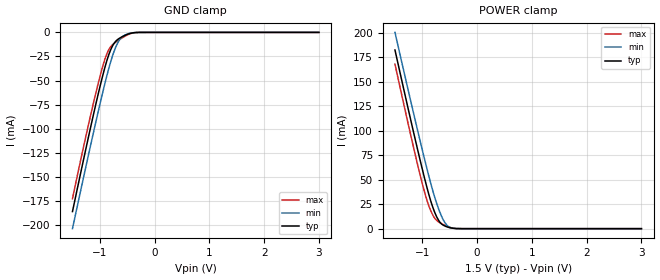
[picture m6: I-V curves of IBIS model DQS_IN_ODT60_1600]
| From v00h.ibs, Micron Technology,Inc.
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| MODEL DQS_IN_ODT60_1600 (Data Strobe Input with 60ohm ODT, 1333/1600/1866Mbps)
[Model]   DQS_IN_ODT60_1600
Model_type   Input
Vinl = 600.000mV
Vinh = 900.000mV
|   typ   min   max
|C_comp   1.053pF   0.965pF   1.152pF
C_comp_power_clamp   0.5265pF   0.4825pF   0.5760pF
C_comp_gnd_clamp   0.5265pF   0.4825pF   0.5760pF
| Note: C_comp changes when the ODT circuit is enabled.
[Model Spec]
| Input threshold voltage corners
Vinl   0.6000V   0.5625V   0.6375V
Vinh   0.9000V   0.8625V   0.9375V
| Dynamic Overshoot Parameters from DDR3 Specification
|D_overshoot_ampl_h   0.40   NA   NA
|D_overshoot_ampl_l   0.40   NA   NA
|D_overshoot_area_h   0.13n   NA   NA
|D_overshoot_area_l   0.13n   NA   NA
[Receiver Thresholds]
|Vth   =  0.750V
|Vth_min  =  0.7350V
|Vth_max  =  0.7650V
|Vinh_ac  =  0.150V
|Vinh_dc  =  0.100V
|Vinl_ac  = -0.150V
|Vinl_dc  = -0.100V
|Tslew_ac =  5.000ns |Not specified, so set to high value
|Threshold_sensitivity = 0.50
|Reference_supply Power_clamp_ref
|NOTE: If using the IBISCHK 4.2.1 or older parser, Differential receiver
|threshold parameters must be commented out because the parser generates
|errors for multiple differential models.
Vcross_low   = 0.600V
Vcross_high  = 0.900V
Vdiff_ac   = 300mV
Vdiff_dc   = 200mV
Tdiffslew_ac = 10.000ns |Not specified, so set to high value
[Voltage Range]   1.5000V   1.4250V   1.5750V
[POWER Clamp Reference]   1.5000V   1.4250V   1.5750V
| Junction Temperature (Ambient temp is 35C typ, 95C min, 0C max)
[Temperature Range]   50.0   110.0   0.0
[Add Submodel]
| Submodel Name   Mode
60ohm_ODT_1600   Non-Driving
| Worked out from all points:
|   GND clamp passes 1 mA (typ) near -0.44 V on its own axis
|   POWER clamp passes 1 mA (typ) near -0.50 V on its own axis
[GND Clamp]
|   Voltage   I(typ)   I(min)   I(max)
-1.5V     -186mA     -203.8mA   -172.6mA
-1.315V   -136.6mA   -155mA     -123.3mA
-1.16V    -96.29mA   -115mA     -83.85mA
-1.02V    -61.55mA   -79.79mA   -50.66mA
-925mV    -39.97mA   -57.01mA   -30.88mA
-845mV    -24.55mA   -39.15mA   -18.86mA
-765mV    -13.68mA   -23.7mA    -12.61mA
-675mV    -7.378mA   -11.11mA   -8.737mA
-585mV    -4.249mA   -4.347mA   -5.415mA
-475mV    -1.572mA   -1.264mA   -2.107mA
-320mV    -80.23uA   -77.6uA    -95.47uA
3V        0A         0A         0A
[POWER Clamp]
|   Voltage   I(typ)   I(min)   I(max)
-1.5V     182.5mA    200.5mA    168mA
-1.115V   87.5mA     107mA      72.03mA
-1V       60.56mA    80.15mA    45.8mA
-910mV    40.77mA    59.85mA    28.01mA
-810mV    22mA       38.84mA    13.98mA
-725mV    10.61mA    23.55mA    7.788mA
-675mV    6.297mA    16.06mA    5.908mA
-620mV    3.641mA    9.228mA    4.207mA
-535mV    1.566mA    2.695mA    2.027mA
-440mV    397.8uA    483.4uA    506.5uA
-285mV    11.34uA    18.25uA    9.201uA
3V        0A         0A         0A
